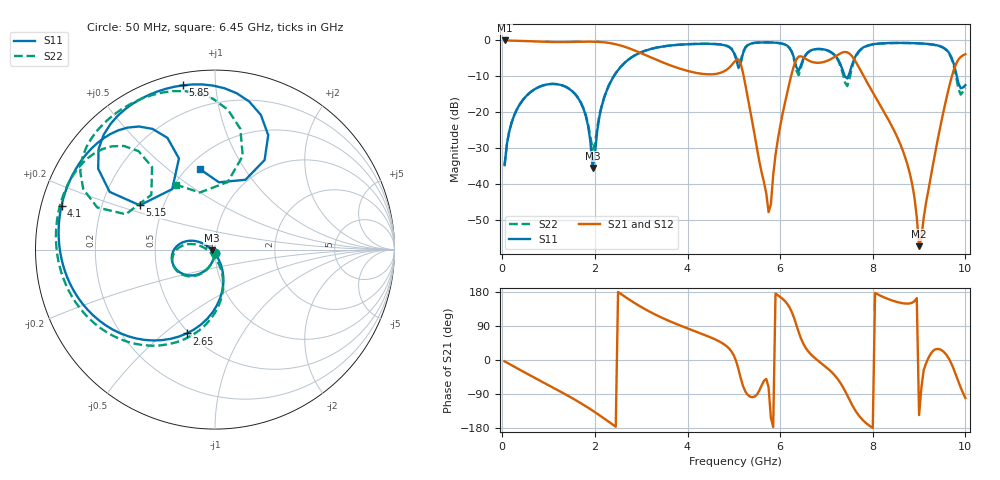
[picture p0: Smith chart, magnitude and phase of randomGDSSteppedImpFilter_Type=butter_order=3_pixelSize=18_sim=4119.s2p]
! freq	dB(S11)	phase(S11)	dB(S12)	phase(S12)
!  dB(S21)	phase(S21)	dB(S22)	phase(S22)
!S-par simulation data
#  GHz  S  DB  R 50
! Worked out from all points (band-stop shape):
!   200 points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, 50 MHz to 10 GHz, reference 50 ohm
!   highest |S21| = -0.02 dB at 50 MHz (marker M1); lowest = -57.2 dB at 9 GHz (marker M2)
!   |S21| within 3 dB of the highest: start of sweep to 2.9 GHz
!   lowest |S11| = -35.4 dB at 1.95 GHz (marker M3), VSWR 1.03, Z = 48.4 - j0.315 ohm
!   |S11| at or under -10 dB: start of sweep to 2.407 GHz; 7.399 GHz to 7.468 GHz (69.85 MHz wide, 0.94 % of centre); 9.816 GHz to end of sweep
!   |S22| runs from -34.7 to -0.5 dB; largest |S21 - S12| = 0
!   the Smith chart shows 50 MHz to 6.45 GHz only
!   S11 on the Smith chart (normalised r, x): 50 MHz: 1.00, -0.04; 2.65 GHz: 0.49, -0.60; 4.1 GHz: 0.06, +0.14; 5.15 GHz: 0.37, +0.24; 5.85 GHz: 0.06, +0.82; 6.45 GHz: 0.58, +0.65
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0.05  -34.68 -91.9  -0.02 -3.5  -0.02 -3.5  -34.68 -91.8
0.65  -14.00 -133.7  -0.29 -43.9  -0.29 -43.9  -13.99 -131.9
1.75  -18.91 155.7  -0.36 -118.0  -0.36 -118.0  -18.76 165.4
1.95  -35.43 -168.9  -0.35 -133.5  -0.35 -133.5  -30.43 -149.8
2.2  -15.93 -73.1  -0.53 -154.4  -0.53 -154.4  -15.78 -74.4
2.65  -6.15 -108.5  -1.80 166.9  -1.80 166.9  -6.12 -105.0
3.4  -1.84 -160.7  -5.77 114.2  -5.77 114.2  -1.82 -154.0
4.1  -1.02 164.0  -8.80 78.7  -8.80 78.7  -1.00 173.2
5.05  -5.26 111.6  -5.43 -3.3  -5.43 -3.3  -4.76 127.3
5.15  -6.27 149.5  -6.55 -48.6  -6.55 -48.6  -5.44 158.4
5.75  -0.57 107.0  -47.74 -71.8  -47.74 -71.8  -0.55 120.5
5.85  -0.61 101.0  -37.39 -177.2  -37.39 -177.2  -0.60 114.7
6.25  -3.06 65.1  -9.22 127.1  -9.22 127.1  -3.25 78.2
6.45  -6.85 100.5  -4.41 56.7  -4.41 56.7  -7.46 121.2
6.7  -2.60 87.8  -6.03 10.6  -6.03 10.6  -2.66 107.0
7.4  -10.05 57.6  -3.21 -81.4  -3.21 -81.4  -11.67 73.6
7.65  -3.85 92.1  -6.31 -138.2  -6.31 -138.2  -4.16 119.9
8.35  -0.73 41.5  -22.32 160.0  -22.32 160.0  -0.76 67.8
8.8  -0.73 17.4  -36.98 149.4  -36.98 149.4  -0.75 44.0
9  -0.81 6.0  -57.20 -145.3  -57.20 -145.3  -0.84 32.5
9.65  -3.51 -53.7  -12.82 2.1  -12.82 2.1  -3.73 -30.7
10  -12.43 -29.3  -3.84 -100.1  -3.84 -100.1  -13.16 -0.8
